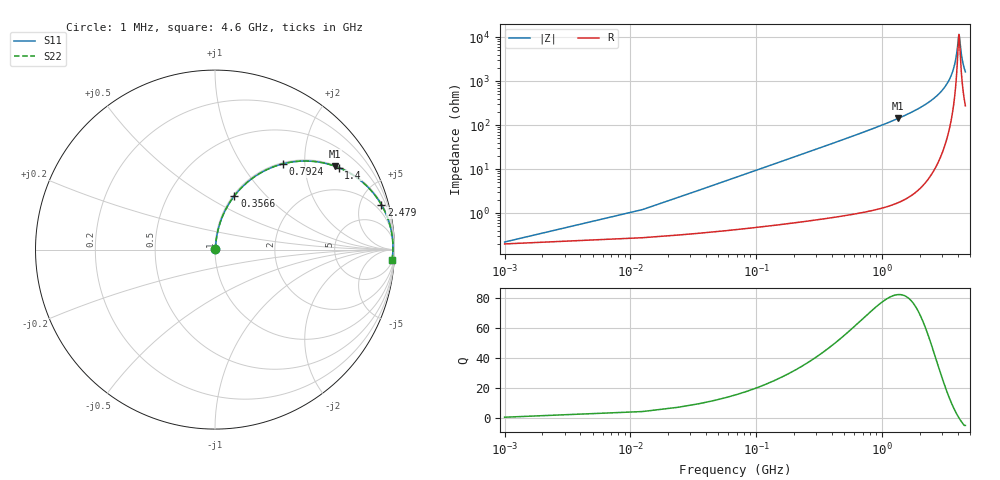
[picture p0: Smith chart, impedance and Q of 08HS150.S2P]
! Coilcraft 0805HS-150 Chip Inductor
! 13 June 2002
# MHZ S MA R 50
!Freq  MagS11  AngS11  MagS21  AngS21  MagS12  AngS12  MagS22  AngS22
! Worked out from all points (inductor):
!   402 points, 1 MHz to 4.6 GHz, reference 50 ohm
!   read as one part in series: L = 15 nH near 23.94 MHz
!   highest Q = 82 at 1.343 GHz (marker M1), where L = 16.8 nH
!   self-resonance near 4.084 GHz
!   S11 on the Smith chart (normalised r, x): 1 MHz: 1.00, +0.00; 356.6 MHz: 1.02, +0.68; 792.4 MHz: 1.02, +1.55; 1.4 GHz: 1.04, +2.99; 2.479 GHz: 1.15, +7.38; 4.6 GHz: 6, -32
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1  0.00221 25.1  0.998 -0.1  0.998 -0.1  0.00221 25.1
35.41  0.03342 82.1  0.996 -1.9  0.996 -1.9  0.03342 82.1
58.35  0.05485 82.7  0.9945 -3.1  0.9945 -3.1  0.05485 82.7
92.76  0.08686 82.0  0.9916 -5.0  0.9916 -5.0  0.08686 82.0
195.99  0.1811 77.7  0.9776 -10.4  0.9776 -10.4  0.1811 77.7
356.57  0.3187 70.1  0.9408 -18.6  0.9408 -18.6  0.3187 70.1
540.09  0.4568 61.8  0.8816 -27.2  0.8816 -27.2  0.4568 61.8
769.49  0.5968 52.5  0.7937 -36.6  0.7937 -36.6  0.5968 52.5
792.43  0.6089 51.7  0.7846 -37.5  0.7846 -37.5  0.6089 51.7
1342.99  0.8127 34.9  0.5728 -54.4  0.5728 -54.4  0.8127 34.9
1400.34  0.8266 33.6  0.5528 -55.7  0.5528 -55.7  0.8266 33.6
1537.98  0.8558 30.5  0.5069 -58.8  0.5069 -58.8  0.8558 30.5
2306.47  0.9493 17.3  0.2978 -71.7  0.2978 -71.7  0.9493 17.3
2478.52  0.9602 15.1  0.2601 -73.7  0.2601 -73.7  0.9602 15.1
3074.96  0.9829 8.5  0.1476 -79.1  0.1476 -79.1  0.9829 8.5
3545.23  0.9902 4.2  0.07404 -80.3  0.07404 -80.3  0.9902 4.2
3843.45  0.9916 1.8  0.03301 -74.3  0.03301 -74.3  0.9916 1.8
3935.21  0.9916 1.1  0.02152 -66.5  0.02152 -66.5  0.9916 1.1
4061.38  0.9914 0.2  0.009309 -23.1  0.009309 -23.1  0.9914 0.2
4095.79  0.9913 -0.0  0.00868 4.3  0.00868 4.3  0.9913 -0.0
4325.19  0.9902 -1.6  0.03013 70.2  0.03013 70.2  0.9902 -1.6
4600  0.9878 -3.5  0.0611 76.8  0.0611 76.8  0.9878 -3.5
